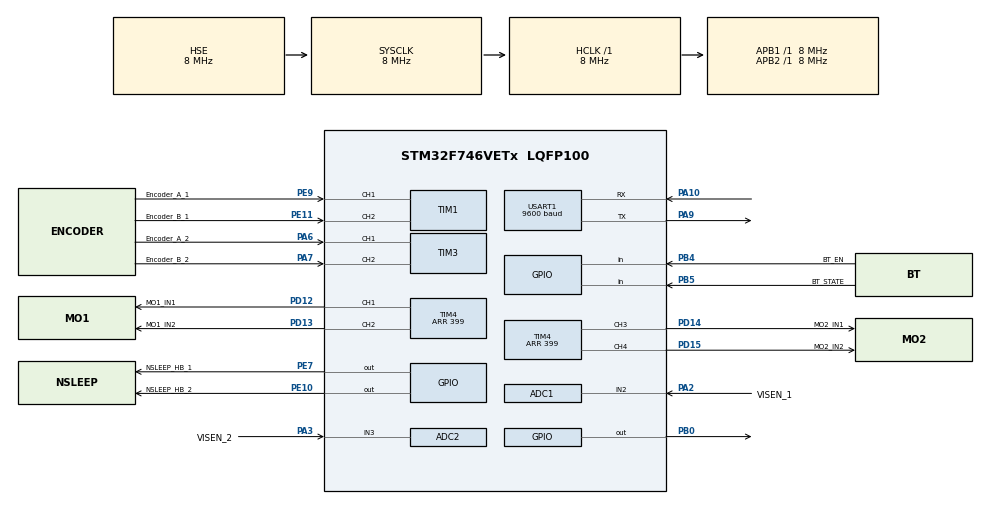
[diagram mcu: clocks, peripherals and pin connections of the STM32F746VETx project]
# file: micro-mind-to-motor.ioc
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ADC1.Channel-1\#ChannelRegularConversion=ADC_CHANNEL_2
ADC1.NbrOfConversionFlag=1
ADC1.Rank-1\#ChannelRegularConversion=1
ADC1.SamplingTime-1\#ChannelRegularConversion=ADC_SAMPLETIME_3CYCLES
ADC1.master=1
ADC2.Channel-0\#ChannelRegularConversion=ADC_CHANNEL_3
ADC2.NbrOfConversionFlag=1
ADC2.Rank-0\#ChannelRegularConversion=1
ADC2.SamplingTime-0\#ChannelRegularConversion=ADC_SAMPLETIME_3CYCLES
CORTEX_M7.default_mode_Activation=1
Mcu.Family=STM32F7
Mcu.Name=STM32F746VETx
Mcu.Package=LQFP100
NVIC.PriorityGroup=NVIC_PRIORITYGROUP_4
PA10.Mode=Asynchronous
PA10.Signal=USART1_RX
PA13.Mode=Serial_Wire
PA13.Signal=SYS_JTMS-SWDIO
PA14.Mode=Serial_Wire
PA14.Signal=SYS_JTCK-SWCLK
PA2.GPIO_Label=VISEN_1
PA2.Signal=ADCx_IN2
PA3.GPIO_Label=VISEN_2
PA3.Signal=ADCx_IN3
PA6.GPIO_Label=Encoder_A_2
PA6.Signal=S_TIM3_CH1
PA7.GPIO_Label=Encoder_B_2
PA7.Signal=S_TIM3_CH2
PA9.Mode=Asynchronous
PA9.Signal=USART1_TX
PB0.Signal=GPIO_Output
PB4.GPIO_Label=BT_EN
PB4.Signal=GPIO_Input
PB5.GPIO_Label=BT_STATE
PB5.Signal=GPIO_Input
PC14/OSC32_IN.Mode=LSE-External-Oscillator
PC14/OSC32_IN.Signal=RCC_OSC32_IN
PC15/OSC32_OUT.Mode=LSE-External-Oscillator
PC15/OSC32_OUT.Signal=RCC_OSC32_OUT
PD12.GPIO_Label=MO1_IN1
PD12.Signal=S_TIM4_CH1
PD13.GPIO_Label=MO1_IN2
PD13.Signal=S_TIM4_CH2
PD14.GPIO_Label=MO2_IN1
PD14.Signal=S_TIM4_CH3
PD15.GPIO_Label=MO2_IN2
PD15.Signal=S_TIM4_CH4
PE10.GPIO_Label=NSLEEP_HB_2
PE10.Signal=GPIO_Output
PE11.GPIO_Label=Encoder_B_1
PE11.Signal=S_TIM1_CH2
PE7.GPIO_Label=NSLEEP_HB_1
PE7.Signal=GPIO_Output
PE9.GPIO_Label=Encoder_A_1
PE9.Signal=S_TIM1_CH1
PH0/OSC_IN.Mode=HSE-External-Oscillator
PH0/OSC_IN.Signal=RCC_OSC_IN
PH1/OSC_OUT.Mode=HSE-External-Oscillator
PH1/OSC_OUT.Signal=RCC_OSC_OUT
ProjectManager.HeapSize=0x200
ProjectManager.StackSize=0x400
ProjectManager.TargetToolchain=STM32CubeIDE
RCC.AHBFreq_Value=8000000
RCC.APB1Freq_Value=8000000
RCC.APB1TimFreq_Value=8000000
RCC.APB2Freq_Value=8000000
RCC.APB2TimFreq_Value=8000000
RCC.CSICalibrationValue=32
RCC.CortexFreq_Value=8000000
RCC.DATA_CACHE_ENABLE=1
RCC.HCLKFreq_Value=8000000
RCC.HSE_VALUE=8000000
RCC.HSI_VALUE=16000000
RCC.INSTRUCTION_CACHE_ENABLE=1
RCC.LSE_Drive_CapabilityArg=RCC_LSEDRIVE_LOW
RCC.MSIAutoCalibration=ENABLED
RCC.MSICalibrationValue=0
RCC.PLL1_VCI_Range=RCC_PLL1VCIRANGE_3
RCC.PLL1_VCO_SEL=RCC_PLL1VCOWIDE
RCC.PLL2FRACN=0
RCC.PLL2_VCI_Range=RCC_PLL2VCIRANGE_3
RCC.PLL2_VCO_SEL=RCC_PLL2VCOWIDE
RCC.PLL3FRACN=0
RCC.PLL3_VCI_Range=RCC_PLL3VCIRANGE_3
RCC.PLL3_VCO_SEL=RCC_PLL3VCOWIDE
RCC.PLLFRACN=0
RCC.PLLSourceVirtual=RCC_PLLSOURCE_HSE
RCC.PREFETCH_ENABLE=0
RCC.ProductRev=revV
RCC.SYSCLKFreq_VALUE=8000000
RCC.SYSCLKSource=RCC_SYSCLKSOURCE_HSE
RCC.USBFreq_Value=48000000
RCC.VCOOutputFreq_Value=96000000
SH.ADCx_IN2.0=ADC1_IN2,IN2
SH.ADCx_IN3.0=ADC2_IN3,IN3
SH.S_TIM1_CH1.0=TIM1_CH1,Encoder_Interface
SH.S_TIM1_CH2.0=TIM1_CH2,Encoder_Interface
SH.S_TIM3_CH1.0=TIM3_CH1,Encoder_Interface
SH.S_TIM3_CH2.0=TIM3_CH2,Encoder_Interface
SH.S_TIM4_CH1.0=TIM4_CH1,PWM Generation1 CH1
SH.S_TIM4_CH2.0=TIM4_CH2,PWM Generation2 CH2
SH.S_TIM4_CH3.0=TIM4_CH3,PWM Generation3 CH3
SH.S_TIM4_CH4.0=TIM4_CH4,PWM Generation4 CH4
TIM1.EncoderMode=TIM_ENCODERMODE_TI12
TIM1.IC1Filter=8
TIM1.IC2Filter=8
TIM3.EncoderMode=TIM_ENCODERMODE_TI12
TIM3.IC1Filter=8
TIM3.IC2Filter=8
TIM4.AutoReloadPreload=TIM_AUTORELOAD_PRELOAD_ENABLE
TIM4.Channel-PWM\ Generation1\ CH1=TIM_CHANNEL_1
TIM4.Channel-PWM\ Generation2\ CH2=TIM_CHANNEL_2
TIM4.Channel-PWM\ Generation3\ CH3=TIM_CHANNEL_3
TIM4.Channel-PWM\ Generation4\ CH4=TIM_CHANNEL_4
TIM4.Period=399
USART1.BaudRate=9600
USART1.VirtualMode-Asynchronous=VM_ASYNC
VP_TIM4_VS_ClockSourceINT.Mode=Internal
board=custom

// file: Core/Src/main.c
/* USER CODE BEGIN Header */
/**
  ******************************************************************************
  * @file           : main.c
  * @brief          : Main program body
  ******************************************************************************
  * @attention
  *
  * Copyright (c) 2026 STMicroelectronics.
  * All rights reserved.
  *
  * This software is licensed under terms that can be found in the LICENSE file
  * in the root directory of this software component.
  * If no LICENSE file comes with this software, it is provided AS-IS.
  *
  ******************************************************************************
  */
/* USER CODE END Header */
#include "main.h"

/* USER CODE BEGIN Includes */
#include <stdio.h>
/* USER CODE END Includes */

/* USER CODE BEGIN PD */
/* Motor input pins -> TIM4 channels */
#define MO1_IN1   TIM_CHANNEL_1   // PD12  TIM4_CH1  Motor 1 (U3, J8)
#define MO1_IN2   TIM_CHANNEL_2   // PD13  TIM4_CH2
#define MO2_IN1   TIM_CHANNEL_3   // PD14  TIM4_CH3  Motor 2 (U2, J7)
#define MO2_IN2   TIM_CHANNEL_4   // PD15  TIM4_CH4
#define LINK_TIMEOUT_MS       400U
#define STATUS_PERIOD_MS      100U
#define RX_LINE_CAPACITY       16U
/* USER CODE END PD */

ADC_HandleTypeDef hadc1;
ADC_HandleTypeDef hadc2;

TIM_HandleTypeDef htim1;
TIM_HandleTypeDef htim3;
TIM_HandleTypeDef htim4;

UART_HandleTypeDef huart1;

void SystemClock_Config(void);
static void MPU_Config(void);
static void MX_GPIO_Init(void);
static void MX_ADC1_Init(void);
static void MX_TIM1_Init(void);
static void MX_TIM3_Init(void);
static void MX_TIM4_Init(void);
static void MX_ADC2_Init(void);
static void MX_USART1_UART_Init(void);
/* USER CODE BEGIN PFP */
static void Motors_Stop(void);
static void Motors_SetWheelPercent(uint8_t left, uint8_t right);
static uint8_t Parse_Wheel_Command(const char *line, uint8_t length,
                                   uint8_t *left, uint8_t *right);
/* USER CODE END PFP */

/* USER CODE BEGIN 0 */
static void Motors_Stop(void)
{
  __HAL_TIM_SET_COMPARE(&htim4, MO1_IN1, 0U);
  __HAL_TIM_SET_COMPARE(&htim4, MO1_IN2, 0U);
  __HAL_TIM_SET_COMPARE(&htim4, MO2_IN1, 0U);
  __HAL_TIM_SET_COMPARE(&htim4, MO2_IN2, 0U);

  HAL_GPIO_WritePin(NSLEEP_HB_1_GPIO_Port, NSLEEP_HB_1_Pin, GPIO_PIN_RESET);
  HAL_GPIO_WritePin(NSLEEP_HB_2_GPIO_Port, NSLEEP_HB_2_Pin, GPIO_PIN_RESET);
  HAL_GPIO_WritePin(GPIOB, GPIO_PIN_0, GPIO_PIN_RESET);
}

static void Motors_SetWheelPercent(uint8_t left, uint8_t right)
{
  uint32_t period = __HAL_TIM_GET_AUTORELOAD(&htim4) + 1U;
  uint32_t left_duty = (period * left) / 100U;
  uint32_t right_duty = (period * right) / 100U;

  /* Motor 1 (J8) is treated as the left wheel; Motor 2 (J7) as the right. */
  __HAL_TIM_SET_COMPARE(&htim4, MO1_IN1, left_duty);
  __HAL_TIM_SET_COMPARE(&htim4, MO1_IN2, 0U);
  __HAL_TIM_SET_COMPARE(&htim4, MO2_IN1, right_duty);
  __HAL_TIM_SET_COMPARE(&htim4, MO2_IN2, 0U);

  HAL_GPIO_WritePin(NSLEEP_HB_1_GPIO_Port, NSLEEP_HB_1_Pin,
                    left > 0U ? GPIO_PIN_SET : GPIO_PIN_RESET);
  HAL_GPIO_WritePin(NSLEEP_HB_2_GPIO_Port, NSLEEP_HB_2_Pin,
                    right > 0U ? GPIO_PIN_SET : GPIO_PIN_RESET);
  HAL_GPIO_WritePin(GPIOB, GPIO_PIN_0,
                    (left > 0U || right > 0U) ? GPIO_PIN_SET : GPIO_PIN_RESET);
}

static uint8_t Parse_Percent(const char *line, uint8_t length,
                             uint8_t *at, uint8_t *value)
{
  uint16_t total = 0U;
  uint8_t digits = 0U;

  while (*at < length && line[*at] >= '0' && line[*at] <= '9' && digits < 4U)
  {
    total = (uint16_t)(total * 10U + (uint16_t)(line[*at] - '0'));
    (*at)++;
    digits++;
  }
  if (digits == 0U || digits > 3U || total > 100U)
  {
    return 0U;
  }
  *value = (uint8_t)total;
  return 1U;
}

static uint8_t Parse_Wheel_Command(const char *line, uint8_t length,
                                   uint8_t *left, uint8_t *right)
{
  uint8_t at = 1U;

  if (length < 4U || line[0] != 'W' ||
      Parse_Percent(line, length, &at, left) == 0U ||
      at >= length || line[at++] != ',' ||
      Parse_Percent(line, length, &at, right) == 0U ||
      at != length)
  {
    return 0U;
  }
  return 1U;
}

/* USER CODE END 0 */

int main(void)
{

  /* USER CODE BEGIN 1 */
  static const uint8_t identity[] = "I mind2motor 1\r\n";
  uint8_t received_byte = 0U;
  char rx_line[RX_LINE_CAPACITY];
  uint8_t rx_length = 0U;
  uint8_t rx_spoiled = 0U;
  uint8_t left_percent = 0U;
  uint8_t right_percent = 0U;
  uint8_t link_live = 0U;
  uint32_t rejected = 0U;
  uint32_t last_command_tick = 0U;
  uint32_t last_status_tick = 0U;
  char status_message[48];
  /* USER CODE END 1 */

  /* MPU Configuration--------------------------------------------------------*/
  MPU_Config();

  /* MCU Configuration--------------------------------------------------------*/

  /* Reset of all peripherals, Initializes the Flash interface and the Systick. */
  HAL_Init();

  /* Configure the system clock */
  SystemClock_Config();

  /* Initialize all configured peripherals */
  MX_GPIO_Init();
  MX_ADC1_Init();
  MX_TIM1_Init();
  MX_TIM3_Init();
  MX_TIM4_Init();
  MX_ADC2_Init();
  MX_USART1_UART_Init();
  /* USER CODE BEGIN 2 */
  /* Keep both motor drivers asleep until a valid Bluetooth wheel frame. */
  HAL_GPIO_WritePin(NSLEEP_HB_1_GPIO_Port, NSLEEP_HB_1_Pin, GPIO_PIN_RESET);
  HAL_GPIO_WritePin(NSLEEP_HB_2_GPIO_Port, NSLEEP_HB_2_Pin, GPIO_PIN_RESET);

  /* Start PWM with every input at 0% duty, then keep both drivers asleep. */
  if (HAL_TIM_PWM_Start(&htim4, MO1_IN1) != HAL_OK ||
      HAL_TIM_PWM_Start(&htim4, MO1_IN2) != HAL_OK ||
      HAL_TIM_PWM_Start(&htim4, MO2_IN1) != HAL_OK ||
      HAL_TIM_PWM_Start(&htim4, MO2_IN2) != HAL_OK)
  {
    Error_Handler();
  }

  Motors_Stop();
  HAL_UART_Transmit(&huart1, (uint8_t *)identity,
                    sizeof(identity) - 1U, 100U);
  last_status_tick = HAL_GetTick();
  /* USER CODE END 2 */

  /* Infinite loop */
  while (1)
  {

    /* USER CODE BEGIN 3 */
    HAL_StatusTypeDef receive_status =
        HAL_UART_Receive(&huart1, &received_byte, 1U, 5U);

    if (receive_status == HAL_OK)
    {
      if (received_byte == '\n')
      {
        if (rx_spoiled != 0U)
        {
          rejected++;
        }
        else if (rx_length == 1U && rx_line[0] == '?')
        {
          HAL_UART_Transmit(&huart1, (uint8_t *)identity,
                            sizeof(identity) - 1U, 100U);
        }
        else if (rx_length != 0U &&
                 Parse_Wheel_Command(rx_line, rx_length,
                                     &left_percent, &right_percent) != 0U)
        {
          Motors_SetWheelPercent(left_percent, right_percent);
          last_command_tick = HAL_GetTick();
          link_live = 1U;
        }
        else if (rx_length != 0U)
        {
          rejected++;
        }
        rx_length = 0U;
        rx_spoiled = 0U;
      }
      else if (received_byte == '\r')
      {
        /* Accept CRLF as well as LF. */
      }
      else if (rx_length < sizeof(rx_line))
      {
        rx_line[rx_length++] = (char)received_byte;
      }
      else
      {
        rx_spoiled = 1U;
      }
    }
    else if (receive_status != HAL_TIMEOUT)
    {
      rx_length = 0U;
      rx_spoiled = 0U;
      rejected++;
      __HAL_UART_CLEAR_OREFLAG(&huart1);
    }

    uint32_t now = HAL_GetTick();
    if (link_live != 0U && now - last_command_tick > LINK_TIMEOUT_MS)
    {
      Motors_Stop();
      left_percent = 0U;
      right_percent = 0U;
      link_live = 0U;
    }

    if (now - last_status_tick >= STATUS_PERIOD_MS)
    {
      int length = snprintf(status_message, sizeof(status_message),
                            "S %s %u %u %lu\r\n",
                            link_live != 0U ? "pc" : "idle",
                            (unsigned int)left_percent,
                            (unsigned int)right_percent,
                            (unsigned long)rejected);
      if (length > 0)
      {
        HAL_UART_Transmit(&huart1, (uint8_t *)status_message,
                          (uint16_t)length, 100U);
      }
      last_status_tick = now;
    }
  }
  /* USER CODE END 3 */
}

void SystemClock_Config(void)
{
  RCC_OscInitTypeDef RCC_OscInitStruct = {0};
  RCC_ClkInitTypeDef RCC_ClkInitStruct = {0};

  /** Configure LSE Drive Capability
  */
  HAL_PWR_EnableBkUpAccess();

  /** Configure the main internal regulator output voltage
  */
  __HAL_RCC_PWR_CLK_ENABLE();
  __HAL_PWR_VOLTAGESCALING_CONFIG(PWR_REGULATOR_VOLTAGE_SCALE3);

  /** Initializes the RCC Oscillators according to the specified parameters
  * in the RCC_OscInitTypeDef structure.
  */
  RCC_OscInitStruct.OscillatorType = RCC_OSCILLATORTYPE_HSE;
  RCC_OscInitStruct.HSEState = RCC_HSE_ON;
  RCC_OscInitStruct.PLL.PLLState = RCC_PLL_NONE;
  if (HAL_RCC_OscConfig(&RCC_OscInitStruct) != HAL_OK)
  {
    Error_Handler();
  }

  /** Initializes the CPU, AHB and APB buses clocks
  */
  RCC_ClkInitStruct.ClockType = RCC_CLOCKTYPE_HCLK|RCC_CLOCKTYPE_SYSCLK
                              |RCC_CLOCKTYPE_PCLK1|RCC_CLOCKTYPE_PCLK2;
  RCC_ClkInitStruct.SYSCLKSource = RCC_SYSCLKSOURCE_HSE;
  RCC_ClkInitStruct.AHBCLKDivider = RCC_SYSCLK_DIV1;
  RCC_ClkInitStruct.APB1CLKDivider = RCC_HCLK_DIV1;
  RCC_ClkInitStruct.APB2CLKDivider = RCC_HCLK_DIV1;

  if (HAL_RCC_ClockConfig(&RCC_ClkInitStruct, FLASH_LATENCY_0) != HAL_OK)
  {
    Error_Handler();
  }
}

static void MX_ADC1_Init(void)
{

  ADC_ChannelConfTypeDef sConfig = {0};

  /** Configure the global features of the ADC (Clock, Resolution, Data Alignment and number of conversion)
  */
  hadc1.Instance = ADC1;
  hadc1.Init.ClockPrescaler = ADC_CLOCK_SYNC_PCLK_DIV2;
  hadc1.Init.Resolution = ADC_RESOLUTION_12B;
  hadc1.Init.ScanConvMode = ADC_SCAN_DISABLE;
  hadc1.Init.ContinuousConvMode = DISABLE;
  hadc1.Init.DiscontinuousConvMode = DISABLE;
  hadc1.Init.ExternalTrigConvEdge = ADC_EXTERNALTRIGCONVEDGE_NONE;
  hadc1.Init.ExternalTrigConv = ADC_SOFTWARE_START;
  hadc1.Init.DataAlign = ADC_DATAALIGN_RIGHT;
  hadc1.Init.NbrOfConversion = 1;
  hadc1.Init.DMAContinuousRequests = DISABLE;
  hadc1.Init.EOCSelection = ADC_EOC_SINGLE_CONV;
  if (HAL_ADC_Init(&hadc1) != HAL_OK)
  {
    Error_Handler();
  }

  /** Configure for the selected ADC regular channel its corresponding rank in the sequencer and its sample time.
  */
  sConfig.Channel = ADC_CHANNEL_2;
  sConfig.Rank = ADC_REGULAR_RANK_1;
  sConfig.SamplingTime = ADC_SAMPLETIME_3CYCLES;
  if (HAL_ADC_ConfigChannel(&hadc1, &sConfig) != HAL_OK)
  {
    Error_Handler();
  }

}

static void MX_ADC2_Init(void)
{

  ADC_ChannelConfTypeDef sConfig = {0};

  /** Configure the global features of the ADC (Clock, Resolution, Data Alignment and number of conversion)
  */
  hadc2.Instance = ADC2;
  hadc2.Init.ClockPrescaler = ADC_CLOCK_SYNC_PCLK_DIV2;
  hadc2.Init.Resolution = ADC_RESOLUTION_12B;
  hadc2.Init.ScanConvMode = ADC_SCAN_DISABLE;
  hadc2.Init.ContinuousConvMode = DISABLE;
  hadc2.Init.DiscontinuousConvMode = DISABLE;
  hadc2.Init.ExternalTrigConvEdge = ADC_EXTERNALTRIGCONVEDGE_NONE;
  hadc2.Init.ExternalTrigConv = ADC_SOFTWARE_START;
  hadc2.Init.DataAlign = ADC_DATAALIGN_RIGHT;
  hadc2.Init.NbrOfConversion = 1;
  hadc2.Init.DMAContinuousRequests = DISABLE;
  hadc2.Init.EOCSelection = ADC_EOC_SINGLE_CONV;
  if (HAL_ADC_Init(&hadc2) != HAL_OK)
  {
    Error_Handler();
  }

  /** Configure for the selected ADC regular channel its corresponding rank in the sequencer and its sample time.
  */
  sConfig.Channel = ADC_CHANNEL_3;
  sConfig.Rank = ADC_REGULAR_RANK_1;
  sConfig.SamplingTime = ADC_SAMPLETIME_3CYCLES;
  if (HAL_ADC_ConfigChannel(&hadc2, &sConfig) != HAL_OK)
  {
    Error_Handler();
  }

}

static void MX_TIM1_Init(void)
{

  TIM_Encoder_InitTypeDef sConfig = {0};
  TIM_MasterConfigTypeDef sMasterConfig = {0};

  htim1.Instance = TIM1;
  htim1.Init.Prescaler = 0;
  htim1.Init.CounterMode = TIM_COUNTERMODE_UP;
  htim1.Init.Period = 65535;
  htim1.Init.ClockDivision = TIM_CLOCKDIVISION_DIV1;
  htim1.Init.RepetitionCounter = 0;
  htim1.Init.AutoReloadPreload = TIM_AUTORELOAD_PRELOAD_DISABLE;
  sConfig.EncoderMode = TIM_ENCODERMODE_TI12;
  sConfig.IC1Polarity = TIM_ICPOLARITY_RISING;
  sConfig.IC1Selection = TIM_ICSELECTION_DIRECTTI;
  sConfig.IC1Prescaler = TIM_ICPSC_DIV1;
  sConfig.IC1Filter = 8;
  sConfig.IC2Polarity = TIM_ICPOLARITY_RISING;
  sConfig.IC2Selection = TIM_ICSELECTION_DIRECTTI;
  sConfig.IC2Prescaler = TIM_ICPSC_DIV1;
  sConfig.IC2Filter = 8;
  if (HAL_TIM_Encoder_Init(&htim1, &sConfig) != HAL_OK)
  {
    Error_Handler();
  }
  sMasterConfig.MasterOutputTrigger = TIM_TRGO_RESET;
  sMasterConfig.MasterOutputTrigger2 = TIM_TRGO2_RESET;
  sMasterConfig.MasterSlaveMode = TIM_MASTERSLAVEMODE_DISABLE;
  if (HAL_TIMEx_MasterConfigSynchronization(&htim1, &sMasterConfig) != HAL_OK)
  {
    Error_Handler();
  }

}

static void MX_TIM3_Init(void)
{

  TIM_Encoder_InitTypeDef sConfig = {0};
  TIM_MasterConfigTypeDef sMasterConfig = {0};

  htim3.Instance = TIM3;
  htim3.Init.Prescaler = 0;
  htim3.Init.CounterMode = TIM_COUNTERMODE_UP;
  htim3.Init.Period = 65535;
  htim3.Init.ClockDivision = TIM_CLOCKDIVISION_DIV1;
  htim3.Init.AutoReloadPreload = TIM_AUTORELOAD_PRELOAD_DISABLE;
  sConfig.EncoderMode = TIM_ENCODERMODE_TI12;
  sConfig.IC1Polarity = TIM_ICPOLARITY_RISING;
  sConfig.IC1Selection = TIM_ICSELECTION_DIRECTTI;
  sConfig.IC1Prescaler = TIM_ICPSC_DIV1;
  sConfig.IC1Filter = 8;
  sConfig.IC2Polarity = TIM_ICPOLARITY_RISING;
  sConfig.IC2Selection = TIM_ICSELECTION_DIRECTTI;
  sConfig.IC2Prescaler = TIM_ICPSC_DIV1;
  sConfig.IC2Filter = 8;
  if (HAL_TIM_Encoder_Init(&htim3, &sConfig) != HAL_OK)
  {
    Error_Handler();
  }
  sMasterConfig.MasterOutputTrigger = TIM_TRGO_RESET;
  sMasterConfig.MasterSlaveMode = TIM_MASTERSLAVEMODE_DISABLE;
  if (HAL_TIMEx_MasterConfigSynchronization(&htim3, &sMasterConfig) != HAL_OK)
  {
    Error_Handler();
  }

}

static void MX_TIM4_Init(void)
{

  TIM_ClockConfigTypeDef sClockSourceConfig = {0};
  TIM_MasterConfigTypeDef sMasterConfig = {0};
  TIM_OC_InitTypeDef sConfigOC = {0};

  htim4.Instance = TIM4;
  htim4.Init.Prescaler = 0;
  htim4.Init.CounterMode = TIM_COUNTERMODE_UP;
  htim4.Init.Period = 399;
  htim4.Init.ClockDivision = TIM_CLOCKDIVISION_DIV1;
  htim4.Init.AutoReloadPreload = TIM_AUTORELOAD_PRELOAD_ENABLE;
  if (HAL_TIM_Base_Init(&htim4) != HAL_OK)
  {
    Error_Handler();
  }
  sClockSourceConfig.ClockSource = TIM_CLOCKSOURCE_INTERNAL;
  if (HAL_TIM_ConfigClockSource(&htim4, &sClockSourceConfig) != HAL_OK)
  {
    Error_Handler();
  }
  if (HAL_TIM_PWM_Init(&htim4) != HAL_OK)
  {
    Error_Handler();
  }
  sMasterConfig.MasterOutputTrigger = TIM_TRGO_RESET;
  sMasterConfig.MasterSlaveMode = TIM_MASTERSLAVEMODE_DISABLE;
  if (HAL_TIMEx_MasterConfigSynchronization(&htim4, &sMasterConfig) != HAL_OK)
  {
    Error_Handler();
  }
  sConfigOC.OCMode = TIM_OCMODE_PWM1;
  sConfigOC.Pulse = 0;
  sConfigOC.OCPolarity = TIM_OCPOLARITY_HIGH;
  sConfigOC.OCFastMode = TIM_OCFAST_DISABLE;
  if (HAL_TIM_PWM_ConfigChannel(&htim4, &sConfigOC, TIM_CHANNEL_1) != HAL_OK)
  {
    Error_Handler();
  }
  if (HAL_TIM_PWM_ConfigChannel(&htim4, &sConfigOC, TIM_CHANNEL_2) != HAL_OK)
  {
    Error_Handler();
  }
  if (HAL_TIM_PWM_ConfigChannel(&htim4, &sConfigOC, TIM_CHANNEL_3) != HAL_OK)
  {
    Error_Handler();
  }
  if (HAL_TIM_PWM_ConfigChannel(&htim4, &sConfigOC, TIM_CHANNEL_4) != HAL_OK)
  {
    Error_Handler();
  }
  HAL_TIM_MspPostInit(&htim4);

}

static void MX_USART1_UART_Init(void)
{

  huart1.Instance = USART1;
  huart1.Init.BaudRate = 9600;
  huart1.Init.WordLength = UART_WORDLENGTH_8B;
  huart1.Init.StopBits = UART_STOPBITS_1;
  huart1.Init.Parity = UART_PARITY_NONE;
  huart1.Init.Mode = UART_MODE_TX_RX;
  huart1.Init.HwFlowCtl = UART_HWCONTROL_NONE;
  huart1.Init.OverSampling = UART_OVERSAMPLING_16;
  huart1.Init.OneBitSampling = UART_ONE_BIT_SAMPLE_DISABLE;
  huart1.AdvancedInit.AdvFeatureInit = UART_ADVFEATURE_NO_INIT;
  if (HAL_UART_Init(&huart1) != HAL_OK)
  {
    Error_Handler();
  }

}

static void MX_GPIO_Init(void)
{
  GPIO_InitTypeDef GPIO_InitStruct = {0};

  /* GPIO Ports Clock Enable */
  __HAL_RCC_GPIOC_CLK_ENABLE();
  __HAL_RCC_GPIOH_CLK_ENABLE();
  __HAL_RCC_GPIOA_CLK_ENABLE();
  __HAL_RCC_GPIOB_CLK_ENABLE();
  __HAL_RCC_GPIOE_CLK_ENABLE();
  __HAL_RCC_GPIOD_CLK_ENABLE();

  /*Configure GPIO pin Output Level */
  HAL_GPIO_WritePin(GPIOB, GPIO_PIN_0, GPIO_PIN_RESET);

  /*Configure GPIO pin Output Level */
  HAL_GPIO_WritePin(GPIOE, NSLEEP_HB_1_Pin|NSLEEP_HB_2_Pin, GPIO_PIN_RESET);

  /*Configure GPIO pin : PB0 */
  GPIO_InitStruct.Pin = GPIO_PIN_0;
  GPIO_InitStruct.Mode = GPIO_MODE_OUTPUT_PP;
  GPIO_InitStruct.Pull = GPIO_NOPULL;
  GPIO_InitStruct.Speed = GPIO_SPEED_FREQ_LOW;
  HAL_GPIO_Init(GPIOB, &GPIO_InitStruct);

  /*Configure GPIO pins : NSLEEP_HB_1_Pin NSLEEP_HB_2_Pin */
  GPIO_InitStruct.Pin = NSLEEP_HB_1_Pin|NSLEEP_HB_2_Pin;
  GPIO_InitStruct.Mode = GPIO_MODE_OUTPUT_PP;
  GPIO_InitStruct.Pull = GPIO_NOPULL;
  GPIO_InitStruct.Speed = GPIO_SPEED_FREQ_LOW;
  HAL_GPIO_Init(GPIOE, &GPIO_InitStruct);

  /*Configure GPIO pins : BT_EN_Pin BT_STATE_Pin */
  GPIO_InitStruct.Pin = BT_EN_Pin|BT_STATE_Pin;
  GPIO_InitStruct.Mode = GPIO_MODE_INPUT;
  GPIO_InitStruct.Pull = GPIO_NOPULL;
  HAL_GPIO_Init(GPIOB, &GPIO_InitStruct);

}

 /* MPU Configuration */

void MPU_Config(void)
{
  MPU_Region_InitTypeDef MPU_InitStruct = {0};

  /* Disables the MPU */
  HAL_MPU_Disable();

  /** Initializes and configures the Region and the memory to be protected
  */
  MPU_InitStruct.Enable = MPU_REGION_ENABLE;
  MPU_InitStruct.Number = MPU_REGION_NUMBER0;
  MPU_InitStruct.BaseAddress = 0x0;
  MPU_InitStruct.Size = MPU_REGION_SIZE_4GB;
  MPU_InitStruct.SubRegionDisable = 0x87;
  MPU_InitStruct.TypeExtField = MPU_TEX_LEVEL0;
  MPU_InitStruct.AccessPermission = MPU_REGION_NO_ACCESS;
  MPU_InitStruct.DisableExec = MPU_INSTRUCTION_ACCESS_DISABLE;
  MPU_InitStruct.IsShareable = MPU_ACCESS_SHAREABLE;
  MPU_InitStruct.IsCacheable = MPU_ACCESS_NOT_CACHEABLE;
  MPU_InitStruct.IsBufferable = MPU_ACCESS_NOT_BUFFERABLE;

  HAL_MPU_ConfigRegion(&MPU_InitStruct);
  /* Enables the MPU */
  HAL_MPU_Enable(MPU_PRIVILEGED_DEFAULT);

}

void Error_Handler(void)
{
  __disable_irq();
  while (1)
  {
  }
}
